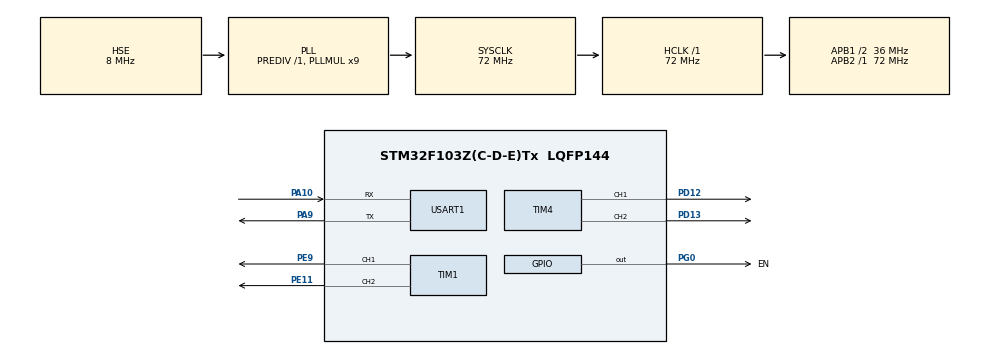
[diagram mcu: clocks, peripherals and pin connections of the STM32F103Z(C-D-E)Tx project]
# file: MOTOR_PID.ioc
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Mcu.Family=STM32F1
Mcu.Name=STM32F103Z(C-D-E)Tx
Mcu.Package=LQFP144
NVIC.PriorityGroup=NVIC_PRIORITYGROUP_4
NVIC.TIM4_IRQn=true\:1\:0\:true\:false\:true\:true\:true\:true
NVIC.TIM6_IRQn=true\:2\:0\:true\:false\:true\:true\:true\:true
NVIC.USART1_IRQn=true\:0\:0\:false\:false\:true\:true\:true\:true
OSC_IN.Mode=HSE-External-Oscillator
OSC_IN.Signal=RCC_OSC_IN
OSC_OUT.Mode=HSE-External-Oscillator
OSC_OUT.Signal=RCC_OSC_OUT
PA10.Mode=Asynchronous
PA10.Signal=USART1_RX
PA13.Mode=Serial_Wire
PA13.Signal=SYS_JTMS-SWDIO
PA14.Mode=Serial_Wire
PA14.Signal=SYS_JTCK-SWCLK
PA9.Mode=Asynchronous
PA9.Signal=USART1_TX
PD12.Signal=S_TIM4_CH1
PD13.Signal=S_TIM4_CH2
PE11.Signal=S_TIM1_CH2
PE9.Signal=S_TIM1_CH1
PG0.GPIO_Label=EN
PG0.Signal=GPIO_Output
ProjectManager.HeapSize=0x200
ProjectManager.StackSize=0x400
ProjectManager.TargetToolchain=MDK-ARM V5
RCC.ADCPresc=RCC_ADCPCLK2_DIV6
RCC.AHBFreq_Value=72000000
RCC.APB1CLKDivider=RCC_HCLK_DIV2
RCC.APB1Freq_Value=36000000
RCC.APB1TimFreq_Value=72000000
RCC.APB2Freq_Value=72000000
RCC.APB2TimFreq_Value=72000000
RCC.HCLKFreq_Value=72000000
RCC.PLLMUL=RCC_PLL_MUL9
RCC.PLLSourceVirtual=RCC_PLLSOURCE_HSE
RCC.SYSCLKFreq_VALUE=72000000
RCC.SYSCLKSource=RCC_SYSCLKSOURCE_PLLCLK
RCC.USBFreq_Value=72000000
SH.S_TIM1_CH1.0=TIM1_CH1,Output Compare1 CH1
SH.S_TIM1_CH2.0=TIM1_CH2,Output Compare2 CH2
SH.S_TIM4_CH1.0=TIM4_CH1,Output Compare1 CH1
SH.S_TIM4_CH2.0=TIM4_CH2,Output Compare2 CH2
TIM1.Channel-Output\ Compare1\ CH1=TIM_CHANNEL_1
TIM1.Channel-Output\ Compare2\ CH2=TIM_CHANNEL_2
TIM4.Channel-Output\ Compare1\ CH1=TIM_CHANNEL_1
TIM4.Channel-Output\ Compare2\ CH2=TIM_CHANNEL_2
USART1.VirtualMode=VM_ASYNC
VP_TIM1_VS_ClockSourceINT.Mode=Internal
VP_TIM4_VS_ClockSourceINT.Mode=Internal
VP_TIM6_VS_ClockSourceINT.Mode=Enable_Timer
board=custom

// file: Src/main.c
/* USER CODE BEGIN Header */
/**
  ******************************************************************************
  * @file           : main.c
  * @brief          : Main program body
  ******************************************************************************
  * @attention
  *
  * Copyright (c) 2023 STMicroelectronics.
  * All rights reserved.
  *
  * This software is licensed under terms that can be found in the LICENSE file
  * in the root directory of this software component.
  * If no LICENSE file comes with this software, it is provided AS-IS.
  *
  ******************************************************************************
  */
/* USER CODE END Header */
#include "main.h"
#include "tim.h"
#include "usart.h"
#include "gpio.h"

/* USER CODE BEGIN Includes */
#include "pid.h"
#include "motor.h"
#include "encoder.h"
#include "protocol.h"
#include "basic_tim.h"
#include "Serial_port.h"
/* USER CODE END Includes */

void SystemClock_Config(void);

int main(void)
{
  /* USER CODE BEGIN 1 */
  int32_t target_location = 10 * PER_CYCLE_PULSES;
  int32_t target = 0;
  /* USER CODE END 1 */

  /* MCU Configuration--------------------------------------------------------*/

  /* Reset of all peripherals, Initializes the Flash interface and the Systick. */
  HAL_Init();

  /* Configure the system clock */
  SystemClock_Config();

  /* Initialize all configured peripherals */
  MX_GPIO_Init();
  MX_TIM6_Init();
  MX_TIM1_Init();
  MX_USART1_UART_Init();
  MX_TIM4_Init();
  /* USER CODE BEGIN 2 */
  // 通讯协议初始化
  protocol_init();

  // 初始化串口
  DEBUG_USART_Config();

  // 电机初始化
  motor_init(); //电机初始化后自行启动
  set_motor_disable(); // 停止电机

  // 编码器接口初始化
	Encoder_Init();

  // 初始化基本定时器，用于处理定时任务
  TIMx_Configuration();

  // PID参数初始化
  PID_param_init();

#if defined(PID_ASSISTANT_EN)
  set_computer_value(SEND_STOP_CMD, CURVES_CH1, NULL, 0); // 同步上位机的启动按钮状态
  set_computer_value(SEND_TARGET_CMD, CURVES_CH1, &target_location, 1); // 给通道 1 发送目标值
#endif
  /* USER CODE END 2 */

  /* Infinite loop */
  /* USER CODE BEGIN WHILE */
  while (1)
  {
    // 接收数据处理
    receiving_process();
    if (target == 0)
    {
    #if defined(PID_ASSISTANT_EN)
      set_computer_value(SEND_START_CMD, CURVES_CH1, NULL, 0); // 同步上位机的启动按钮状态
    #endif
      set_pid_target(&pid_location, target_location); //设置目标值
      set_motor_enable(); //使能电机
      target = 1;
    }
    /* USER CODE END WHILE */

  }
}

void SystemClock_Config(void)
{
  RCC_OscInitTypeDef RCC_OscInitStruct = {0};
  RCC_ClkInitTypeDef RCC_ClkInitStruct = {0};

  /** Initializes the RCC Oscillators according to the specified parameters
  * in the RCC_OscInitTypeDef structure.
  */
  RCC_OscInitStruct.OscillatorType = RCC_OSCILLATORTYPE_HSE;
  RCC_OscInitStruct.HSEState = RCC_HSE_ON;
  RCC_OscInitStruct.HSEPredivValue = RCC_HSE_PREDIV_DIV1;
  RCC_OscInitStruct.HSIState = RCC_HSI_ON;
  RCC_OscInitStruct.PLL.PLLState = RCC_PLL_ON;
  RCC_OscInitStruct.PLL.PLLSource = RCC_PLLSOURCE_HSE;
  RCC_OscInitStruct.PLL.PLLMUL = RCC_PLL_MUL9;
  if (HAL_RCC_OscConfig(&RCC_OscInitStruct) != HAL_OK)
  {
    Error_Handler();
  }

  /** Initializes the CPU, AHB and APB buses clocks
  */
  RCC_ClkInitStruct.ClockType = RCC_CLOCKTYPE_HCLK|RCC_CLOCKTYPE_SYSCLK
                              |RCC_CLOCKTYPE_PCLK1|RCC_CLOCKTYPE_PCLK2;
  RCC_ClkInitStruct.SYSCLKSource = RCC_SYSCLKSOURCE_PLLCLK;
  RCC_ClkInitStruct.AHBCLKDivider = RCC_SYSCLK_DIV1;
  RCC_ClkInitStruct.APB1CLKDivider = RCC_HCLK_DIV2;
  RCC_ClkInitStruct.APB2CLKDivider = RCC_HCLK_DIV1;

  if (HAL_RCC_ClockConfig(&RCC_ClkInitStruct, FLASH_LATENCY_2) != HAL_OK)
  {
    Error_Handler();
  }
}

void Error_Handler(void)
{
  __disable_irq();
  while (1)
  {
  }
}
